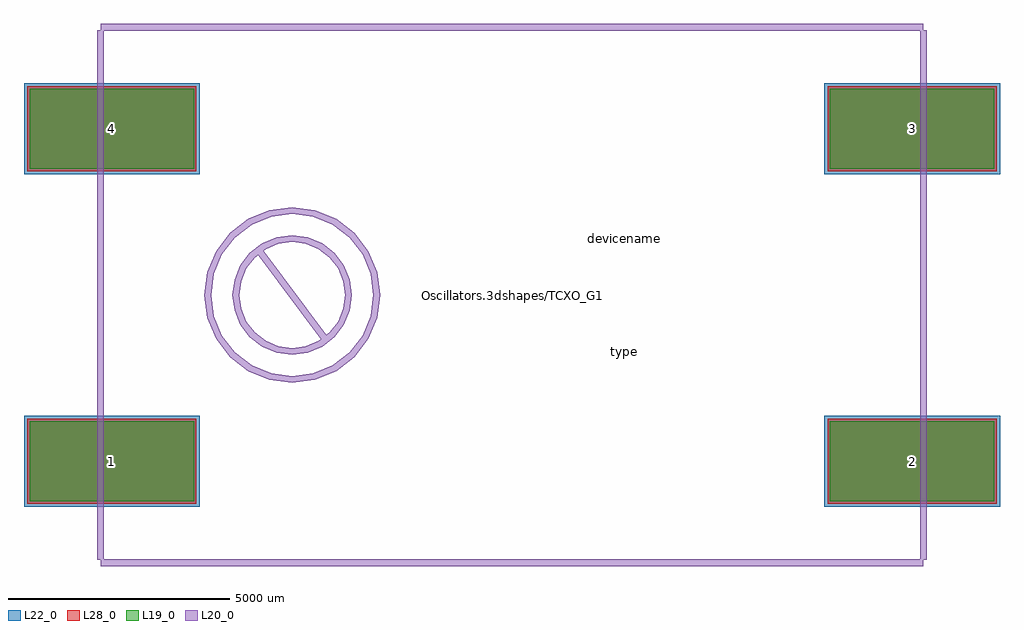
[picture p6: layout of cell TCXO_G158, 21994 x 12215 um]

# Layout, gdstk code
import gdstk
lib = gdstk.Library(unit=1e-6, precision=1e-09)
def R(c, l, rs):  # rectangles x0, y0, x1, y1
    for r in rs: c.add(gdstk.rectangle(r[:2], r[2:], *l))
L19_0 = (19, 0)
L20_0 = (20, 0)
L22_0 = (22, 0)
L28_0 = (28, 0)

tcxo_g158 = lib.new_cell('TCXO_G158')
R(tcxo_g158, L19_0, [(-10872,-4649,-7162,-2844), (7162,-4649,10872,-2844), (-10872,2844,-7162,4649), (7162,2844,10872,4649)])
R(tcxo_g158, L22_0, [(-10997,-4774,-7037,-2719), (7037,-4774,10997,-2719), (-10997,2719,-7037,4774), (7037,2719,10997,4774)])
R(tcxo_g158, L28_0, [(-10922,-4699,-7112,-2794), (7112,-4699,10922,-2794), (-10922,2794,-7112,4699), (7112,2794,10922,4699)])
tcxo_g158.add(gdstk.FlexPath([(9271,5969),(9271,-5969)], 149.998, ends="flush", simple_path=True, layer=20, datatype=0))  # L20_0
tcxo_g158.add(gdstk.FlexPath([(-9271,-5969),(-9271,5969)], 149.998, ends="flush", simple_path=True, layer=20, datatype=0))  # L20_0
tcxo_g158.add(gdstk.FlexPath([(9271,-6032.5),(-9271,-6032.5)], 149.998, ends="flush", simple_path=True, layer=20, datatype=0))  # L20_0
tcxo_g158.add(gdstk.FlexPath([(-9271,6032.5),(9271,6032.5)], 149.998, ends="flush", simple_path=True, layer=20, datatype=0))  # L20_0
tcxo_g158.add(gdstk.FlexPath([(-3683,0),(-3726.274,328.7),(-3853.148,635),(-4054.974,898.026),(-4318,1099.852),(-4624.3,1226.726),(-4953,1270),(-5281.7,1226.726),(-5588,1099.852),(-5851.026,898.026),(-6052.852,635),(-6179.726,328.7),(-6223,0),(-6179.726,-328.7),(-6052.852,-635),(-5851.026,-898.026),(-5588,-1099.852),(-5281.7,-1226.726),(-4953,-1270),(-4624.3,-1226.726),(-4318,-1099.852),(-4054.974,-898.026),(-3853.148,-635),(-3726.274,-328.7),(-3683,0)], 149.998, ends="flush", simple_path=True, layer=20, datatype=0))  # L20_0
tcxo_g158.add(gdstk.FlexPath([(-3048,0),(-3112.911,493.05),(-3303.222,952.5),(-3605.962,1347.038),(-4000.5,1649.778),(-4459.95,1840.089),(-4953,1905),(-5446.05,1840.089),(-5905.5,1649.778),(-6300.038,1347.038),(-6602.778,952.5),(-6793.089,493.05),(-6858,0),(-6793.089,-493.05),(-6602.778,-952.5),(-6300.038,-1347.038),(-5905.5,-1649.778),(-5446.05,-1840.089),(-4953,-1905),(-4459.95,-1840.089),(-4000.5,-1649.778),(-3605.962,-1347.038),(-3303.222,-952.5),(-3112.911,-493.05),(-3048,0)], 149.998, ends="flush", simple_path=True, layer=20, datatype=0))  # L20_0
tcxo_g158.add(gdstk.FlexPath([(-5715,1016),(-4191,-1016)], 149.998, ends="flush", simple_path=True, layer=20, datatype=0))  # L20_0
tcxo_g158.add(gdstk.Label('Oscillators.3dshapes/TCXO_G158.wrl', (0,0), layer=12, texttype=0))
tcxo_g158.add(gdstk.Label('4', (-9017,3746.5), layer=28, texttype=0))
tcxo_g158.add(gdstk.Label('3', (9017,3746.5), layer=28, texttype=0))
tcxo_g158.add(gdstk.Label('2', (9017,-3746.5), layer=28, texttype=0))
tcxo_g158.add(gdstk.Label('1', (-9017,-3746.5), layer=28, texttype=0))
tcxo_g158.add(gdstk.Label('type', (2540,-1270), layer=9, texttype=0))
tcxo_g158.add(gdstk.Label('devicename', (2540,1270), layer=9, texttype=0))

lib.write_gds('TCXO_G158.gds')
